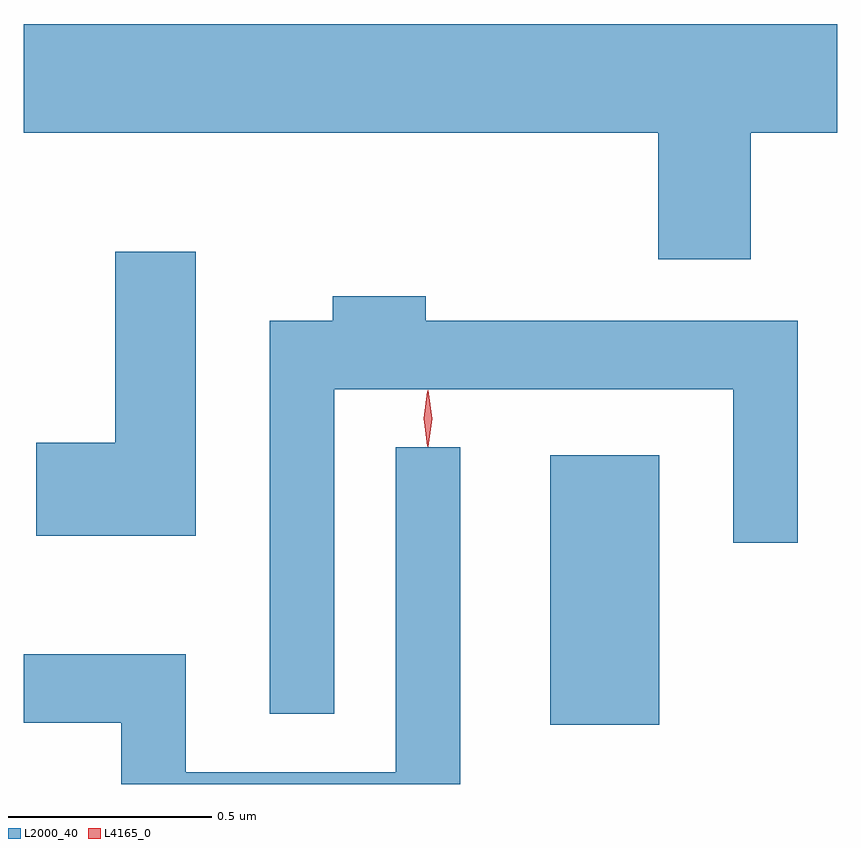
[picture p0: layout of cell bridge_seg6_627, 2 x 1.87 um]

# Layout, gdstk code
import gdstk
lib = gdstk.Library(unit=1e-6, precision=1e-09)
def R(c, l, rs):  # rectangles x0, y0, x1, y1
    for r in rs: c.add(gdstk.rectangle(r[:2], r[2:], *l))
def P(c, l, *ps):  # polygons
    for p in ps: c.add(gdstk.Polygon(p, *l))
L2000_40 = (2000, 40)
L4165_0 = (4165, 0)

bridge_seg6_627 = lib.new_cell('bridge_seg6_627')
R(bridge_seg6_627, L2000_40, [(527.906,1630.721,528.174,1631.384)])
P(bridge_seg6_627, L2000_40, [(528.399,1632.176),(528.611,1632.176),(528.611,1632.444),(526.611,1632.444),(526.611,1632.176),(528.171,1632.176),(528.171,1631.866),(528.399,1631.866)],
  [(527.034,1631.884),(526.836,1631.884),(526.836,1631.414),(526.641,1631.414),(526.641,1631.186),(527.034,1631.186)],
  [(527.374,1631.546),(528.356,1631.546),(528.356,1631.168),(528.514,1631.168),(528.514,1631.714),(527.599,1631.714),(527.599,1631.774),(527.371,1631.774),(527.371,1631.714),(527.216,1631.714),(527.216,1630.748),(527.374,1630.748)],
  [(527.684,1631.403),(527.526,1631.403),(527.526,1630.604),(527.009,1630.604),(527.009,1630.894),(526.611,1630.894),(526.611,1630.726),(526.851,1630.726),(526.851,1630.575),(527.684,1630.575)])
P(bridge_seg6_627, L4165_0, [(527.603,1631.407),(527.594,1631.474),(527.603,1631.54),(527.604,1631.541),(527.604,1631.54),(527.614,1631.474),(527.604,1631.407),(527.604,1631.407)],
  [(527.604,1631.404),(527.595,1631.473),(527.604,1631.543),(527.605,1631.543),(527.606,1631.543),(527.615,1631.473),(527.606,1631.404),(527.605,1631.404)])

lib.write_gds('bridge_seg6_627.gds')
